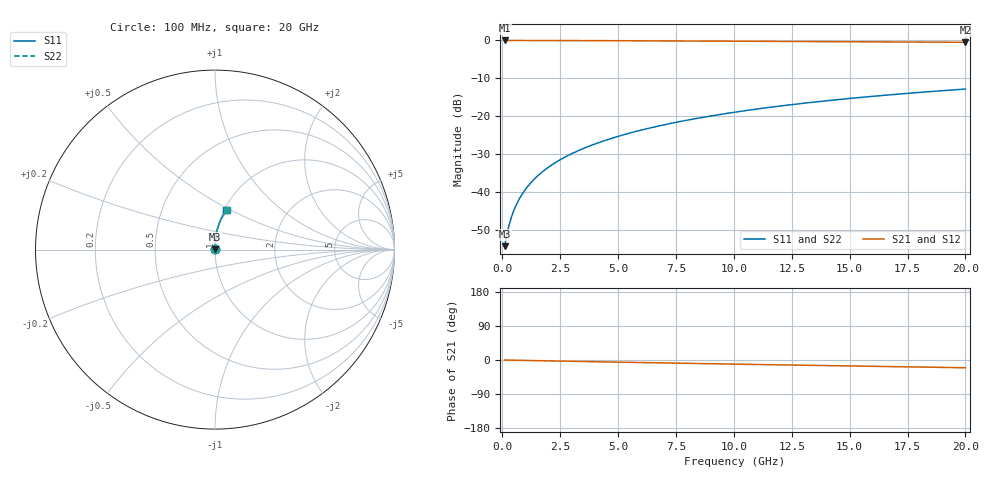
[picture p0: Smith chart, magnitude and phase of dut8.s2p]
! Touchstone file exported from HFSS 2024.1.0
!  File:  C:/UserFiles/LocalFiles/RDL_TSV_Batchsim/temp_RDL_top_8_1778679758.aedt
!  Generated:  09:44:55 PM May 13, 2026
!  Design:  RDL_top
!  Project:  temp_RDL_top_8_1778679758
!  Setup:  Setup1
!  Solution:  Sweep
! Variables:
!  dtsv = 10.80580581um
!  hbump = 3um
!  htsv = 51.77um
!  ldown = 100um
!  lrdl = 260.86um
!  p = 40
!  p1 = 46.14um
!  rhole = 1um
!  t = 450um
!  tdown = 3.915915916um
!  trdl = 3.64um
!  wdown = 15.38538539um
!  wrdl = 18.69um
# GHz S MA R 50.000000
! Terminal data exported
! Port[1] = Box2_T1
! Port[2] = Box2_T2
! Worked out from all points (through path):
!   200 points, 100 MHz to 20 GHz, reference 50 ohm
!   highest |S21| = -0.01 dB at 100 MHz (marker M1); lowest = -0.5 dB at 20 GHz (marker M2)
!   group delay of S21, straight-line fit = 2.82 ps
!   lowest |S11| = -54.3 dB at 100 MHz (marker M3), VSWR 1.00, Z = 50.2 + j0.114 ohm
!   |S11| at or under -10 dB: start of sweep to end of sweep
!   |S22| runs from -54.3 to -12.8 dB; largest |S21 - S12| = 5e-15
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0.1  0.001917 36.3  0.9985 -0.1  0.9985 -0.1  0.001917 36.3
! Gamma 0 0 0 0
! Port Impedance 50 0 50 0
0.2  0.002754 54.5  0.9984 -0.2  0.9984 -0.2  0.002754 54.5
0.3  0.003711 63.4  0.9983 -0.4  0.9983 -0.4  0.003711 63.4
0.4  0.004696 68.6  0.9982 -0.5  0.9982 -0.5  0.004696 68.6
0.5  0.005693 72.1  0.9982 -0.6  0.9982 -0.6  0.005693 72.1
0.6  0.006698 74.5  0.9981 -0.7  0.9981 -0.7  0.006698 74.5
0.8  0.008726 77.9  0.9979 -0.9  0.9979 -0.9  0.008726 77.9
1.1  0.01181 80.9  0.9977 -1.3  0.9977 -1.3  0.01181 80.9
1.5  0.01597 83.1  0.9973 -1.8  0.9973 -1.8  0.01597 83.1
1.8  0.01912 84.2  0.997 -2.1  0.997 -2.1  0.01912 84.2
2.1  0.02229 84.9  0.9966 -2.4  0.9966 -2.4  0.02229 84.9
2.7  0.0287 85.8  0.9957 -3.1  0.9957 -3.1  0.0287 85.8
3.5  0.03737 86.4  0.9942 -4.0  0.9942 -4.0  0.03737 86.4
4.2  0.04508 86.6  0.9926 -4.8  0.9926 -4.8  0.04508 86.6
5  0.05402 86.6  0.9907 -5.7  0.9907 -5.7  0.05402 86.6
5.9  0.06425 86.4  0.9883 -6.7  0.9883 -6.7  0.06425 86.4
6.8  0.07463 86.0  0.9857 -7.6  0.9857 -7.6  0.07463 86.0
8.4  0.09335 84.9  0.981 -9.3  0.981 -9.3  0.09335 84.9
10.1  0.1135 83.5  0.9758 -11.0  0.9758 -11.0  0.1135 83.5
13.4  0.1525 80.4  0.9656 -14.2  0.9656 -14.2  0.1525 80.4
16.7  0.1907 77.0  0.9551 -17.4  0.9551 -17.4  0.1907 77.0
20  0.2278 73.7  0.9442 -20.4  0.9442 -20.4  0.2278 73.7
